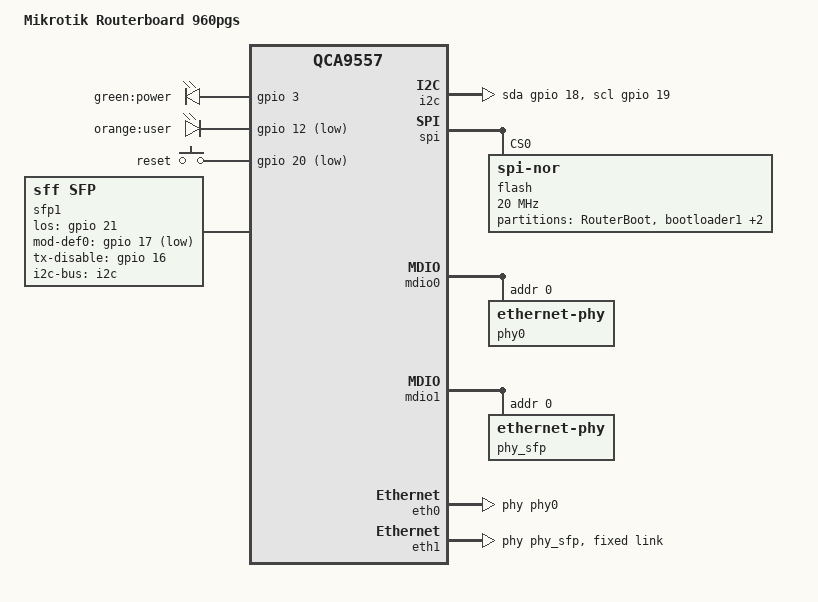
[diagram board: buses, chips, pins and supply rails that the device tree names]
// SPDX-License-Identifier: GPL-2.0-or-later OR MIT

#include "qca955x.dtsi"

#include <dt-bindings/gpio/gpio.h>
#include <dt-bindings/input/input.h>

/ {
	compatible = "mikrotik,routerboard-960pgs", "qca,qca9557";
	model = "Mikrotik Routerboard 960pgs";

	aliases {
		led-boot = &led_user;
		led-failsafe = &led_user;
		led-running = &led_user;
		led-upgrade = &led_user;
	};

	leds {
		compatible = "gpio-leds";

		led_power: power {
			label = "green:power";
			gpios = <&gpio 3 GPIO_ACTIVE_HIGH>;
			default-state = "on";
		};

		led_user: user {
			label = "orange:user";
			gpios = <&gpio 12 GPIO_ACTIVE_LOW>;
		};

	};

	keys {
		compatible = "gpio-keys";

		reset {
			label = "reset";
			gpios = <&gpio 20 GPIO_ACTIVE_LOW>;
			linux,code = <KEY_RESTART>;
			debounce-interval = <60>;
		};
	};

        i2c: i2c {
                compatible = "i2c-gpio";

                sda-gpios = <&gpio 18 (GPIO_ACTIVE_HIGH|GPIO_OPEN_DRAIN)>;
                scl-gpios = <&gpio 19 (GPIO_ACTIVE_HIGH|GPIO_OPEN_DRAIN)>;
                i2c-gpio,delay-us = <5>;
                i2c-gpio,timeout-ms = <1>;
        };

        sfp1: sfp {
                compatible = "sff,sfp";

                i2c-bus = <&i2c>;
                maximum-power-milliwatt = <1000>;
                los-gpios = <&gpio 21 GPIO_ACTIVE_HIGH>;
                mod-def0-gpios = <&gpio 17 GPIO_ACTIVE_LOW>;
                tx-disable-gpios = <&gpio 16 GPIO_ACTIVE_HIGH>;
                // Toggling GPIO16 actually enables/disables the transmitter,
                // but the SFP driver does not seem to be using it.
		// GPIO12 is the SFP LED
                };

};

&spi {
        status = "okay";

        flash@0 {
                compatible = "jedec,spi-nor";
                reg = <0>;
                spi-max-frequency = <20000000>;

                partitions {
                        compatible = "fixed-partitions";
                        #address-cells = <1>;
                        #size-cells = <1>;

                        partition@0 {
                                label = "RouterBoot";
                                reg = <0x0 0x20000>;
                                read-only;
                                compatible = "mikrotik,routerboot-partitions";
                                #address-cells = <1>;
                                #size-cells = <1>;

                                partition@0 {
                                        label = "bootloader1";
                                        reg = <0x0 0x0>;
                                        read-only;
                                };

                                hard_config: hard_config {
                                        read-only;
                                };

                                bios {
                                        size = <0x1000>;
                                        read-only;
                                };

                                partition@10000 {
                                        label = "bootloader2";
                                        reg = <0x10000 0x0>;
                                        read-only;
                                };

                                soft_config {
                                        label = "soft_config";
                                };
                        };

                        partition@20000 {
                                compatible = "mikrotik,minor";
                                label = "firmware";
                                reg = <0x020000 0xfe0000>;
                        };
                };
        };
};

&mdio0 {
	status = "okay";

	phy0: ethernet-phy@0 {
		reg = <0>;
		phy-mode = "mii";

//		qca,ar8327-initvals = <
//		    0x04 0x80080080 /* PORT0 PAD MODE CTRL */
//		    0x0c 0x07600000 /* PORT6 PAD MODE CTRL */
//		    0x7c 0x0000007e /* PORT0_STATUS */
//		    0x94 0x0000007e /* PORT6 STATUS */
//		>;
	};
};

&mdio1 {
        status = "okay";

        phy_sfp: ethernet-phy@0 {
                reg = <0>;
                phy-mode = "sgmii";
                sfp = <&sfp1>;
        };
};

&eth0 {
	status = "okay";

//	mtd-mac-address = <&art 0x0>;
	phy-handle = <&phy0>;
	pll-data = <0x8f000000 0xa0000101 0xa0001313>;

        gmac-config {
                device = <&gmac>;
                rgmii-enabled = <1>;
        };
};

&eth1 {
        status = "okay";

        phy-handle = <&phy_sfp>;
        pll-data = <0x03000000 0x00000101 0x00001616>;
        qca955x-sgmii-fixup;

        gmac-config {
                device = <&gmac>;
        };

        fixed-link {
                speed = <1000>;
                full-duplex;
        };
};

